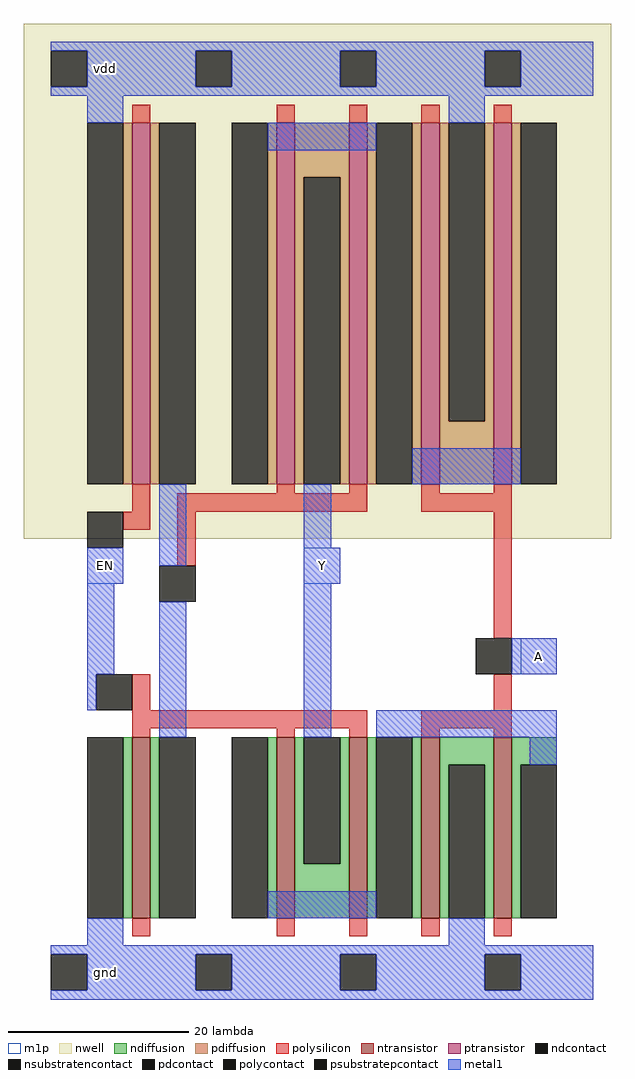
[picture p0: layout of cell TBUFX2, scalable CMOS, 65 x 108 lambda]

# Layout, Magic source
magic
tech scmos
<< nwell >>
rect -5 48 60 105
<< ntransistor >>
rect 7 6 9 26
rect 23 6 25 26
rect 31 6 33 26
rect 39 6 41 26
rect 47 6 49 26
<< ptransistor >>
rect 7 54 9 94
rect 23 54 25 94
rect 31 54 33 94
rect 39 54 41 94
rect 47 54 49 94
<< ndiffusion >>
rect 6 6 7 26
rect 9 6 10 26
rect 22 6 23 26
rect 25 12 26 26
rect 30 12 31 26
rect 25 6 31 12
rect 33 6 34 26
rect 38 6 39 26
rect 41 23 47 26
rect 41 6 42 23
rect 46 6 47 23
rect 49 23 54 26
rect 49 6 50 23
<< pdiffusion >>
rect 6 54 7 94
rect 9 54 10 94
rect 22 54 23 94
rect 25 88 31 94
rect 25 54 26 88
rect 30 54 31 88
rect 33 54 34 94
rect 38 54 39 94
rect 41 61 42 94
rect 46 61 47 94
rect 41 54 47 61
rect 49 54 50 94
<< ndcontact >>
rect 2 6 6 26
rect 10 6 14 26
rect 18 6 22 26
rect 26 12 30 26
rect 34 6 38 26
rect 42 6 46 23
rect 50 6 54 23
<< pdcontact >>
rect 2 54 6 94
rect 10 54 14 94
rect 18 54 22 94
rect 26 54 30 88
rect 34 54 38 94
rect 42 61 46 94
rect 50 54 54 94
<< psubstratepcontact >>
rect -2 -2 2 2
rect 14 -2 18 2
rect 30 -2 34 2
rect 46 -2 50 2
<< nsubstratencontact >>
rect -2 98 2 102
rect 14 98 18 102
rect 30 98 34 102
rect 46 98 50 102
<< polysilicon >>
rect 7 94 9 96
rect 23 94 25 96
rect 31 94 33 96
rect 39 94 41 96
rect 47 94 49 96
rect 7 51 9 54
rect 23 53 25 54
rect 31 53 33 54
rect 6 49 9 51
rect 12 51 33 53
rect 39 53 41 54
rect 47 53 49 54
rect 39 51 49 53
rect 12 45 14 51
rect 47 37 49 51
rect 7 29 9 33
rect 47 29 49 33
rect 7 27 33 29
rect 7 26 9 27
rect 23 26 25 27
rect 31 26 33 27
rect 39 27 49 29
rect 39 26 41 27
rect 47 26 49 27
rect 7 4 9 6
rect 23 4 25 6
rect 31 4 33 6
rect 39 4 41 6
rect 47 4 49 6
<< polycontact >>
rect 2 47 6 51
rect 10 41 14 45
rect 45 33 49 37
rect 3 29 7 33
<< metal1 >>
rect -2 102 58 103
rect 2 98 14 102
rect 18 98 30 102
rect 34 98 46 102
rect 50 98 58 102
rect -2 97 58 98
rect 2 94 6 97
rect 42 94 46 97
rect 22 91 34 94
rect 38 54 50 58
rect 2 43 6 47
rect 10 45 13 54
rect 26 47 29 54
rect 2 33 5 43
rect 26 43 30 47
rect 2 29 3 33
rect 10 26 13 41
rect 26 26 29 43
rect 49 33 54 37
rect 34 26 54 29
rect 22 6 34 9
rect 51 23 54 26
rect 2 3 6 6
rect 42 3 46 6
rect -2 2 58 3
rect 2 -2 14 2
rect 18 -2 30 2
rect 34 -2 46 2
rect 50 -2 58 2
rect -2 -3 58 -2
<< m1p >>
rect 2 43 6 47
rect 26 43 30 47
rect 50 33 54 37
<< labels >>
rlabel metal1 4 100 4 100 6 vdd
rlabel metal1 4 0 4 0 8 gnd
rlabel metal1 52 35 52 35 1 A
rlabel m1p 4 45 4 45 1 EN
rlabel m1p 28 45 28 45 1 Y
<< end >>
